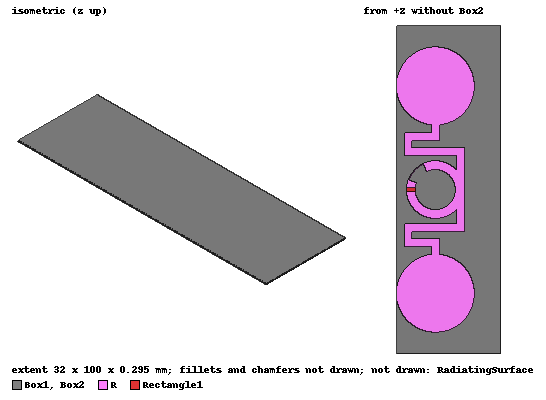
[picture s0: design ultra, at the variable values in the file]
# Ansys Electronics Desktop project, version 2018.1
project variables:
  $E = 580
  $Z = 10
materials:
  PET: permittivity=3
  copper: permeability=0.999991 conductivity=58000000
  vacuum: permittivity=1
  BOPP: permittivity=2.25 dielectric_loss_tangent=0.0005

design ultra (HFSS, DrivenModal, model units mm)
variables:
  W = 0mm
  h1 = 0.02mm
  l1 = 8.1mm
  l2 = L1
  l3 = 13.5mm
  l4 = 2.1mm
  l7 = 4mm
  H = 0.225mm
  P = 2.7mm
  th = 44.6deg
  v = 0.2mm
  ph = 20deg
  Q = 2.4mm
  yuan = R2
  l8 = 4.7mm
  h2 = 0.05mm
  R1 = 8.8mm
  R2 = 11.9mm
  S = (RRR-P)*2
  l5 = -(RRR-L3)+Q/2
  l6 = l5-l3
  RRR = R1
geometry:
  Rectangle1 = rectangle(corner=(-RRR, -0.5mm, h1/2), x_size=p, y_size=1mm)
  RadiatingSurface [vacuum] = region(absolute_offset=111.11111mm on all sides)
  Box1 [PET] = box(corner=(-16mm+((W+l1)/2-W/2), -50mm, -H), size=(32mm, 100mm, H))
  R [copper] = cylinder(axis=Z, base_centre=(0mm, 0mm, 0mm), radius=RRR, height=h1)
  r_1 = cylinder(axis=Z, base_centre=(0mm, 0mm, 0mm), radius=RRR-p, height=h1)
  R.subtract(r_1)
  cutport1 = box(corner=(-RRR, -0.5mm, 0mm), size=(RRR, 1mm, h1))
  R.subtract(cutport1)
  11 = polyline((0mm, 0mm, 0mm) (-(RRR-v), 0mm, 0mm))
  12 = 11.duplicate_around_axis(axis=Z, angle=-th, total=2)
  w = polyline(z=0mm, xy: (-(RRR-v), 0mm) (-7.9568036mm, 3.263323mm) (-6.123424mm, 6.0385163mm), AngularArc from point 0 over 3 centre=(0mm, 0mm, 0mm) angle=-th plane=XY)
  11.unite(12, w)
  11.cover_lines()
  11.sweep_along_vector((0mm, 0mm, h1))
  11.rotate(axis=Z, angle=-ph)
  R.subtract(11)
  2 = box(corner=(RRR-Q, 0, 0mm), size=(Q, l1+Q, h1))
  3 = box(corner=(RRR, l2+Q, 0mm), size=(-(l3+Q), Q, h1))
  3.chamfer(Edges=R.edge(12 of 12) LeftDistance=1mm RightDistance=1mm ChamferType=Symmetric)
  4 = box(corner=(RRR-l3-Q, l1+Q, 0mm), size=(-Q, l4+Q, h1))
  4.chamfer(Edges=R.edge(9 of 12) LeftDistance=1mm RightDistance=1mm ChamferType=Symmetric)
  5 = box(corner=(RRR-l3-2*Q, l1+l4+2*Q, 0mm), size=(l5+Q, Q, h1))
  5.chamfer(Edges=R.edge(11 of 12) LeftDistance=1mm RightDistance=1mm ChamferType=Symmetric)
  6 = box(corner=(RRR-Q-l3+l5, l2+l4+2*Q, 0mm), size=(Q, l8+Q, h1))
  6.chamfer(Edges=R.edge(10 of 12) LeftDistance=1mm RightDistance=1mm ChamferType=Symmetric)
  Cylinder1 = cylinder(axis=Z, base_centre=(0mm, l2+l4+2*Q+L8+YUAN, 0mm), radius=yuan, height=h1)
  r_2 = cylinder(axis=Z, base_centre=(0mm, 0mm, 0mm), radius=R1-p, height=h1)
  2.subtract(r_2)
  2.unite(3..6)
  2_1 = 2.duplicate_mirror(point=(0mm, 0mm, 0mm), normal=(0mm, -1mm, 0mm))
  Cylinder1_1 = Cylinder1.duplicate_mirror(point=(0mm, 0mm, 0mm), normal=(0mm, -1mm, 0mm))
  R.unite(2, Cylinder1, 2_1, Cylinder1_1)
  Box2 [BOPP] = box(corner=(-16mm+((W+l1)/2-W/2), -50mm, h1), size=(32mm, 100mm, h2))
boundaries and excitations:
  Open1: Radiation Objects=RadiatingSurface
  1: Lumped Port Objects=Rectangle1 Modes{Mode1{IntLine{middle of Rectangle1.edge(y opposite corner) -> middle of Rectangle1.edge(y at corner)} CharImp=Zpi}} Impedance="(30.53+1i*211) ohm"
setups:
  Setup1: HfssDriven Frequency=922MHz MaxDeltaS=0.02 MaximumPasses=30 MinimumPasses=1 MinimumConvergedPasses=1 PercentRefinement=30 BasisOrder=1 PortAccuracy=2
    sweep Sweep: 600MHz to 1500MHz step 0.5MHz; Type=Fast SaveFields
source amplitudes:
  1:1: 1W 0deg
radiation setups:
  3D: Infinite Sphere Theta=0deg..180deg step 2deg Phi=-180deg..180deg step 2deg
  Elevation: Infinite Sphere Theta=-180deg..180deg step 1deg Phi=0deg..90deg step 90deg
  Azimuth: Infinite Sphere Theta=90deg..90deg step 0deg Phi=-180deg..180deg step 1deg
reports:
  S Parameter Plot 1: dB(S(1,1)) vs Freq on Setup1 : Sweep; markers m1 at 0.922GHz
  Z Parameter Plot 1: re(Z(1,1)), im(Z(1,1)) vs Freq on Setup1 : Sweep; markers m1 at 0.922GHz, m2 at 0.922GHz
  Gain Plot 1: dB(GainTotal) vs Phi, Theta on Setup1 : LastAdaptive, 3D [Freq=0.922GHz]
  Antenna Params Table 1: RadiationEfficiency vs Freq on Setup1 : LastAdaptive
